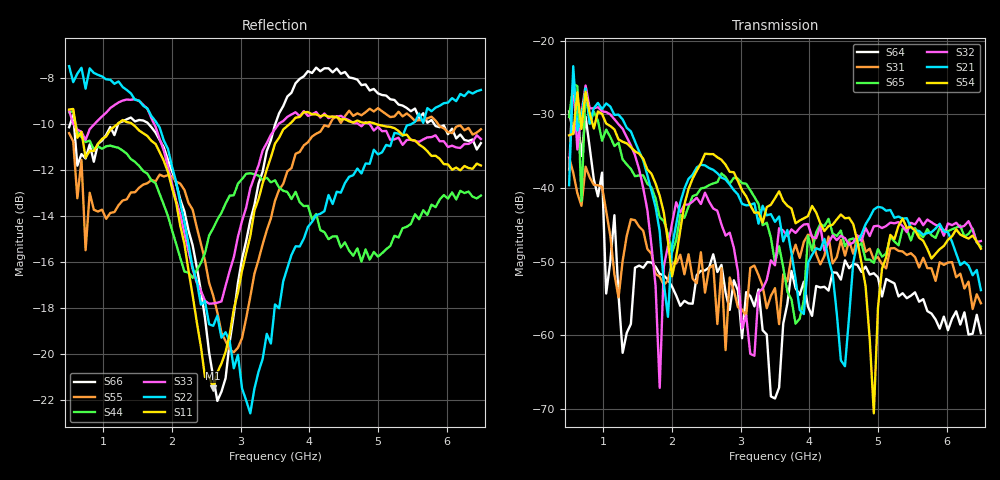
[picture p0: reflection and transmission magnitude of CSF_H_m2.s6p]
!Keysight Technologies,M9804A,MY58100912,A.14.10.03
!Date: Thursday, April 27, 2023 10:28:33
!Correction: S11(C  6-Port  )
!S12(C  6-Port  )
!S13(C  6-Port  )
!S14(C  6-Port  )
!S15(C  6-Port  )
!S16(C  6-Port  )
!S21(C  6-Port  )
!S22(C  6-Port  )
!S23(C  6-Port  )
!S24(C  6-Port  )
!S25(C  6-Port  )
!S26(C  6-Port  )
!S31(C  6-Port  )
!S32(C  6-Port  )
!S33(C  6-Port  )
!S34(C  6-Port  )
!S35(C  6-Port  )
!S36(C  6-Port  )
!S41(C  6-Port  )
!S42(C  6-Port  )
!S43(C  6-Port  )
!S44(C  6-Port  )
!S45(C  6-Port  )
!S46(C  6-Port  )
!S51(C  6-Port  )
!S52(C  6-Port  )
!S53(C  6-Port  )
!S54(C  6-Port  )
!S55(C  6-Port  )
!S56(C  6-Port  )
!S61(C  6-Port  )
!S62(C  6-Port  )
!S63(C  6-Port  )
!S64(C  6-Port  )
!S65(C  6-Port  )
!S66(C  6-Port  )
!S6P File: Measurement: :
# Hz S  RI  R 50
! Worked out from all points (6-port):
!   101 points, 500 MHz to 6.5 GHz, reference 50 ohm
!   strongest paths, dB at 500 MHz, 2 GHz, 3.5 GHz, 5 GHz, 6.5 GHz:
!     S54: -32.8, -52.0, -41.4, -56.3, -48.2
!     S21: -39.6, -47.9, -44.6, -42.6, -53.9
!     S32: -37.5, -44.8, -50.5, -45.1, -47.2
!     S65: -30.4, -48.8, -50.1, -48.3, -47.9
!     S31: -35.9, -50.1, -53.6, -49.4, -55.7
!     S64: -29.6, -53.4, -68.6, -52.1, -59.7
!   lowest |S11| = -21.5 dB at 2.6 GHz (marker M1), VSWR 1.18, Z = 42.5 + j2.14 ohm
!   |S11| at or under -10 dB: 591.4 MHz to 1.206 GHz (614.9 MHz wide, 68.4 % of centre); 1.421 GHz to 3.711 GHz (2.29 GHz wide, 89.2 % of centre); 4.974 GHz to end of sweep
